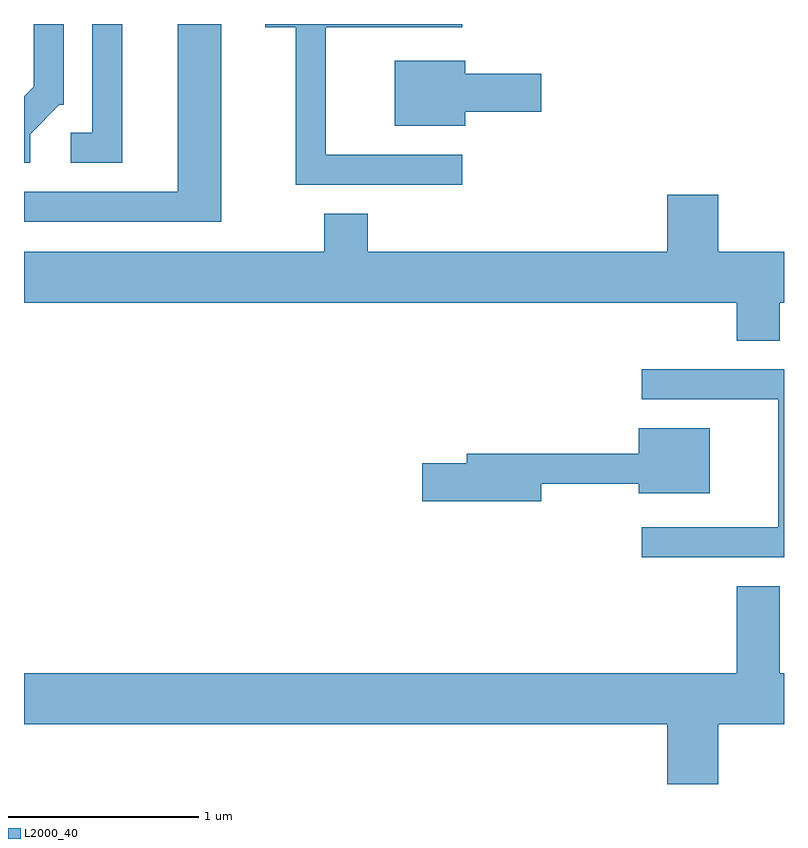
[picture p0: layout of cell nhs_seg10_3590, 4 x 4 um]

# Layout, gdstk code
import gdstk
lib = gdstk.Library(unit=1e-6, precision=1e-09)
def P(c, l, *ps):  # polygons
    for p in ps: c.add(gdstk.Polygon(p, *l))
L2000_40 = (2000, 40)

nhs_seg10_3590 = lib.new_cell('nhs_seg10_3590')
P(nhs_seg10_3590, L2000_40, [(292.129,2086.522),(291.971,2086.522),(291.971,2085.949),(291.858,2085.949),(291.858,2085.791),(292.129,2085.791)],
  [(293.918,2085.834),(293.199,2085.834),(293.199,2086.506),(293.918,2086.506),(293.918,2086.522),(292.881,2086.522),(292.881,2086.506),(293.041,2086.506),(293.041,2085.676),(293.918,2085.676)],
  [(291.644,2085.943),(291.797,2086.096),(291.819,2086.096),(291.819,2086.522),(291.661,2086.522),(291.661,2086.192),(291.611,2086.142),(291.611,2085.791),(291.644,2085.791)],
  [(292.649,2086.522),(292.421,2086.522),(292.421,2085.639),(291.611,2085.639),(291.611,2085.481),(292.649,2085.481)],
  [(293.934,2086.061),(294.334,2086.061),(294.334,2086.259),(293.934,2086.259),(293.934,2086.329),(293.561,2086.329),(293.561,2085.986),(293.934,2085.986)],
  [(295.589,2085.056),(295.611,2085.056),(295.611,2085.324),(295.264,2085.324),(295.264,2085.624),(294.996,2085.624),(294.996,2085.324),(293.419,2085.324),(293.419,2085.524),(293.191,2085.524),(293.191,2085.324),(291.611,2085.324),(291.611,2085.056),(295.361,2085.056),(295.361,2084.856),(295.589,2084.856)],
  [(295.611,2084.704),(294.863,2084.704),(294.863,2084.546),(295.581,2084.546),(295.581,2083.874),(294.863,2083.874),(294.863,2083.716),(295.611,2083.716)],
  [(294.334,2084.101),(294.846,2084.101),(294.846,2084.051),(295.219,2084.051),(295.219,2084.394),(294.846,2084.394),(294.846,2084.259),(293.941,2084.259),(293.941,2084.209),(293.706,2084.209),(293.706,2084.011),(294.334,2084.011)],
  [(295.264,2082.836),(295.611,2082.836),(295.611,2083.104),(295.589,2083.104),(295.589,2083.564),(295.361,2083.564),(295.361,2083.104),(291.611,2083.104),(291.611,2082.836),(294.996,2082.836),(294.996,2082.522),(295.264,2082.522)])

lib.write_gds('nhs_seg10_3590.gds')
